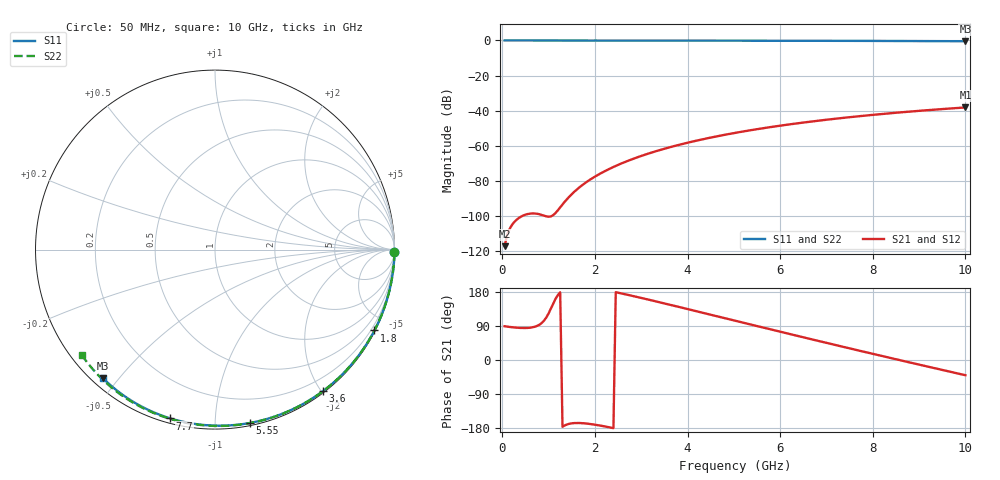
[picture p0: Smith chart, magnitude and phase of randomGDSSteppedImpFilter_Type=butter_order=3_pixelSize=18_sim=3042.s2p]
! freq	dB(S11)	phase(S11)	dB(S12)	phase(S12)
!  dB(S21)	phase(S21)	dB(S22)	phase(S22)
!S-par simulation data
#  GHz  S  DB  R 50
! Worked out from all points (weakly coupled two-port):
!   200 points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, 50 MHz to 10 GHz, reference 50 ohm
!   highest |S21| = -38.11 dB at 10 GHz (marker M1); lowest = -117.0 dB at 50 MHz (marker M2)
!   lowest |S11| = -0.4 dB at 10 GHz (marker M3), VSWR 39.13, Z = 1.54 - j22.7 ohm
!   |S11| at or under -10 dB: nowhere
!   |S22| runs from -0.5 to 0.0 dB; largest |S21 - S12| = 0
!   S11 on the Smith chart (normalised r, x): 50 MHz: open; 1.8 GHz: 0.04, -4.18; 3.6 GHz: 0.02, -2.03; 5.55 GHz: 0.02, -1.22; 7.7 GHz: 0.02, -0.77; 10 GHz: 0.03, -0.45
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0.05  -0.00 -0.8  -117.01 89.1  -117.01 89.1  -0.00 -0.8
0.45  -0.01 -6.8  -99.59 84.4  -99.59 84.4  -0.01 -7.4
0.9  -0.02 -13.6  -99.64 103.7  -99.64 103.7  -0.02 -14.7
1.75  -0.03 -26.1  -81.83 -166.9  -81.83 -166.9  -0.04 -28.2
1.8  -0.03 -26.9  -80.88 -167.5  -80.88 -167.5  -0.04 -29.0
1.85  -0.04 -27.6  -79.97 -168.1  -79.97 -168.1  -0.04 -29.8
2  -0.04 -29.8  -77.46 -170.7  -77.46 -170.7  -0.04 -32.2
2.15  -0.04 -32.0  -75.23 -173.8  -75.23 -173.8  -0.04 -34.5
2.35  -0.04 -34.9  -72.58 -178.6  -72.58 -178.6  -0.05 -37.7
2.55  -0.05 -37.8  -70.20 176.3  -70.20 176.3  -0.05 -40.8
2.95  -0.06 -43.5  -66.15 165.2  -66.15 165.2  -0.06 -46.9
3.4  -0.07 -49.8  -62.35 152.3  -62.35 152.3  -0.07 -53.7
3.6  -0.07 -52.6  -60.86 146.4  -60.86 146.4  -0.08 -56.7
4.3  -0.09 -62.1  -56.36 125.5  -56.36 125.5  -0.09 -66.9
5.05  -0.11 -72.0  -52.46 103.0  -52.46 103.0  -0.12 -77.6
5.55  -0.13 -78.5  -50.25 88.1  -50.25 88.1  -0.14 -84.5
6.1  -0.15 -85.5  -48.10 71.7  -48.10 71.7  -0.16 -92.0
6.7  -0.18 -92.9  -46.03 54.0  -46.03 54.0  -0.19 -100.0
7.7  -0.24 -104.8  -43.10 24.9  -43.10 24.9  -0.26 -112.9
8.35  -0.29 -112.4  -41.47 6.2  -41.47 6.2  -0.31 -121.1
9.2  -0.36 -122.1  -39.61 -17.8  -39.61 -17.8  -0.39 -131.8
10  -0.44 -131.1  -38.11 -40.2  -38.11 -40.2  -0.48 -141.8
